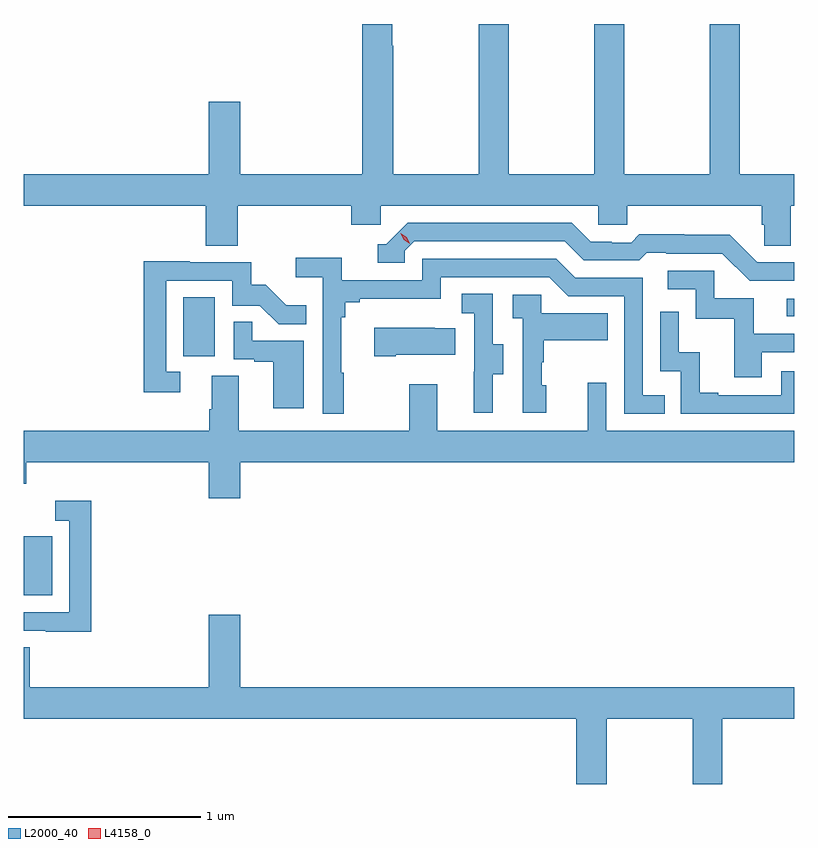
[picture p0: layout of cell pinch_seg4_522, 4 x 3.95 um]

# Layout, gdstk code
import gdstk
lib = gdstk.Library(unit=1e-6, precision=1e-09)
def R(c, l, rs):  # rectangles x0, y0, x1, y1
    for r in rs: c.add(gdstk.rectangle(r[:2], r[2:], *l))
def P(c, l, *ps):  # polygons
    for p in ps: c.add(gdstk.Polygon(p, *l))
L2000_40 = (2000, 40)
L4158_0 = (4158, 0)

pinch_seg4_522 = lib.new_cell('pinch_seg4_522')
R(pinch_seg4_522, L2000_40, [(1141.07,768.156,1141.216,768.463), (1141.898,769.398,1142.062,769.705), (1145.031,769.605,1145.07,769.698)])
P(pinch_seg4_522, L2000_40, [(1142.18,770.18),(1142.771,770.18),(1142.771,770.082),(1142.922,770.082),(1142.922,770.18),(1144.053,770.18),(1144.053,770.082),(1144.203,770.082),(1144.203,770.18),(1144.901,770.18),(1144.901,770.082),(1144.915,770.082),(1144.915,769.972),(1145.052,769.972),(1145.052,770.18),(1145.07,770.18),(1145.07,770.344),(1144.788,770.344),(1144.788,771.124),(1144.633,771.124),(1144.633,770.344),(1144.188,770.344),(1144.188,771.124),(1144.033,771.124),(1144.033,770.344),(1143.588,770.344),(1143.588,771.124),(1143.433,771.124),(1143.433,770.344),(1142.988,770.344),(1142.988,771.011),(1142.983,771.011),(1142.983,771.124),(1142.828,771.124),(1142.828,770.344),(1142.194,770.344),(1142.194,770.719),(1142.03,770.719),(1142.03,770.344),(1141.07,770.344),(1141.07,770.18),(1142.015,770.18),(1142.015,769.972),(1142.18,769.972)],
  [(1145.07,769.887),(1144.878,769.887),(1144.736,770.029),(1144.5,770.029),(1144.5,770.032),(1144.267,770.032),(1144.225,769.989),(1144.122,769.989),(1144.122,769.992),(1144.015,769.992),(1143.916,770.091),(1143.063,770.091),(1142.952,769.98),(1142.909,769.98),(1142.909,769.884),(1143.048,769.884),(1143.048,769.947),(1143.096,769.995),(1143.879,769.995),(1143.978,769.896),(1144.267,769.896),(1144.306,769.935),(1144.405,769.935),(1144.405,769.932),(1144.698,769.932),(1144.839,769.791),(1145.07,769.791)],
  [(1142.731,769.313),(1142.719,769.313),(1142.719,769.601),(1142.738,769.601),(1142.738,769.678),(1142.815,769.678),(1142.815,769.697),(1143.234,769.697),(1143.234,769.809),(1143.798,769.809),(1143.897,769.71),(1144.188,769.71),(1144.188,769.101),(1144.397,769.101),(1144.397,769.197),(1144.284,769.197),(1144.284,769.806),(1143.934,769.806),(1143.835,769.905),(1143.138,769.905),(1143.138,769.794),(1142.72,769.794),(1142.72,769.91),(1142.481,769.91),(1142.481,769.808),(1142.622,769.808),(1142.622,769.101),(1142.731,769.101)],
  [(1141.882,769.317),(1141.809,769.317),(1141.809,769.791),(1142.151,769.791),(1142.151,769.662),(1142.295,769.662),(1142.393,769.564),(1142.537,769.564),(1142.537,769.663),(1142.433,769.663),(1142.326,769.77),(1142.25,769.77),(1142.25,769.887),(1141.931,769.887),(1141.931,769.892),(1141.693,769.892),(1141.693,769.212),(1141.882,769.212)],
  [(1144.903,769.419),(1145.07,769.419),(1145.07,769.515),(1144.861,769.515),(1144.861,769.701),(1144.656,769.701),(1144.656,769.842),(1144.413,769.842),(1144.413,769.746),(1144.56,769.746),(1144.56,769.593),(1144.759,769.593),(1144.759,769.29),(1144.903,769.29)],
  [(1143.505,769.306),(1143.559,769.306),(1143.559,769.461),(1143.504,769.461),(1143.504,769.724),(1143.345,769.724),(1143.345,769.621),(1143.408,769.621),(1143.408,769.317),(1143.407,769.317),(1143.407,769.104),(1143.505,769.104)],
  [(1143.784,769.248),(1143.759,769.248),(1143.759,769.367),(1143.769,769.367),(1143.769,769.481),(1144.103,769.481),(1144.103,769.621),(1143.756,769.621),(1143.756,769.719),(1143.609,769.719),(1143.609,769.595),(1143.66,769.595),(1143.66,769.104),(1143.784,769.104)],
  [(1145.07,769.32),(1145.004,769.32),(1145.004,769.197),(1144.675,769.197),(1144.675,769.21),(1144.58,769.21),(1144.58,769.418),(1144.47,769.418),(1144.47,769.63),(1144.374,769.63),(1144.374,769.32),(1144.482,769.32),(1144.482,769.101),(1145.07,769.101)],
  [(1142.524,769.479),(1142.255,769.479),(1142.255,769.577),(1142.16,769.577),(1142.16,769.383),(1142.267,769.383),(1142.267,769.371),(1142.366,769.371),(1142.366,769.128),(1142.524,769.128)],
  [(1143.001,769.406),(1143.311,769.406),(1143.311,769.543),(1143.203,769.543),(1143.203,769.546),(1142.889,769.546),(1142.889,769.399),(1143.001,769.399)],
  [(1142.194,768.848),(1145.07,768.848),(1145.07,769.012),(1144.095,769.012),(1144.095,769.261),(1143.998,769.261),(1143.998,769.012),(1143.217,769.012),(1143.217,769.252),(1143.07,769.252),(1143.07,769.012),(1142.185,769.012),(1142.185,769.298),(1142.045,769.298),(1142.045,769.124),(1142.033,769.124),(1142.033,769.012),(1141.07,769.012),(1141.07,768.736),(1141.082,768.736),(1141.082,768.848),(1142.03,768.848),(1142.03,768.66),(1142.194,768.66)],
  [(1141.421,768.649),(1141.233,768.649),(1141.233,768.543),(1141.305,768.543),(1141.305,768.069),(1141.07,768.069),(1141.07,767.973),(1141.183,767.973),(1141.183,767.968),(1141.421,767.968)],
  [(1144.098,767.516),(1144.543,767.516),(1144.543,767.177),(1144.698,767.177),(1144.698,767.516),(1145.07,767.516),(1145.07,767.68),(1142.194,767.68),(1142.194,768.055),(1142.03,768.055),(1142.03,767.68),(1141.1,767.68),(1141.1,767.888),(1141.07,767.888),(1141.07,767.516),(1143.938,767.516),(1143.938,767.177),(1144.098,767.177)])
P(pinch_seg4_522, L4158_0, [(1143.074,769.983),(1143.043,770.003),(1143.028,770.036),(1143.028,770.036),(1143.028,770.036),(1143.058,770.016),(1143.074,769.983),(1143.074,769.983)])

lib.write_gds('pinch_seg4_522.gds')
